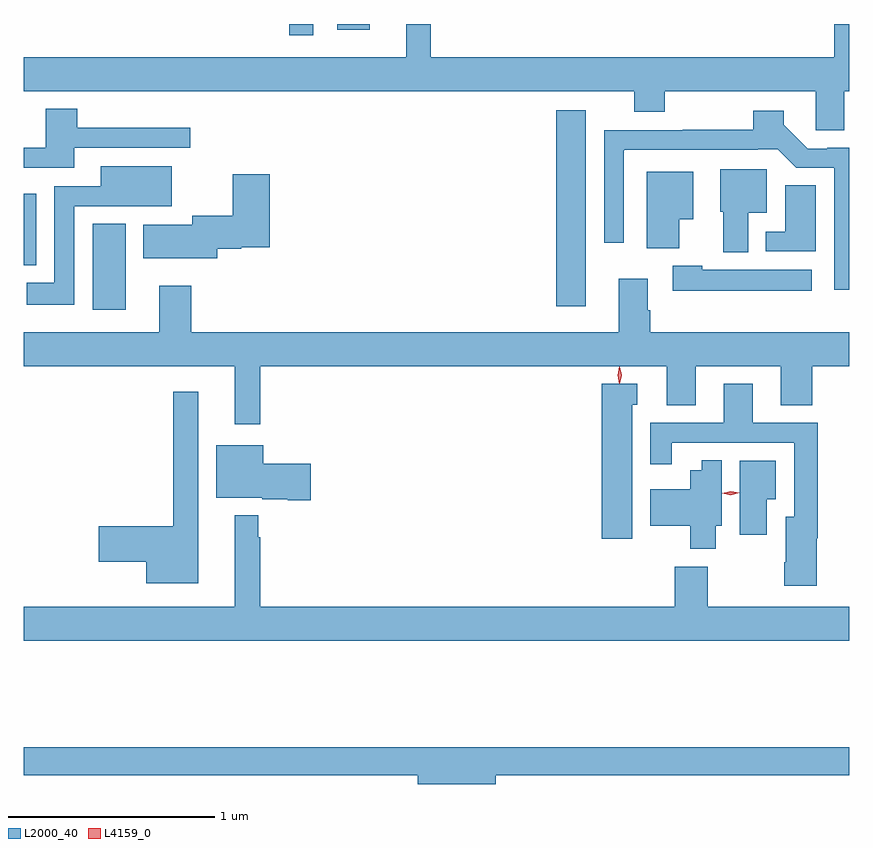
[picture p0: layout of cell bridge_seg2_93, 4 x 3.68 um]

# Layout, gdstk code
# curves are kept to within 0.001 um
import gdstk
lib = gdstk.Library(unit=1e-6, precision=1e-09)
def R(c, l, rs):  # rectangles x0, y0, x1, y1
    for r in rs: c.add(gdstk.rectangle(r[:2], r[2:], *l))
def P(c, l, *ps):  # polygons
    for p in ps: c.add(gdstk.Polygon(p, *l))
L2000_40 = (2000, 40)
L4159_0 = (4159, 0)

bridge_seg2_93 = lib.new_cell('bridge_seg2_93')
R(bridge_seg2_93, L2000_40, [(352.469,649.242,352.63,649.657), (354.716,649.257,354.859,650.209), (352.136,649.457,352.195,649.804), (353.422,650.571,353.538,650.626), (353.654,650.597,353.812,650.626)])
P(bridge_seg2_93, L2000_40, [(356.113,650.3),(356.136,650.3),(356.136,650.626),(356.063,650.626),(356.063,650.464),(354.107,650.464),(354.107,650.626),(353.99,650.626),(353.99,650.464),(352.136,650.464),(352.136,650.3),(355.094,650.3),(355.094,650.201),(355.242,650.201),(355.242,650.3),(355.974,650.3),(355.974,650.11),(356.113,650.11)],
  [(352.381,650.025),(352.942,650.025),(352.942,650.122),(352.394,650.122),(352.394,650.215),(352.241,650.215),(352.241,650.025),(352.136,650.025),(352.136,649.929),(352.381,649.929)],
  [(356.136,650.025),(356.029,650.025),(356.029,650.022),(355.935,650.022),(355.819,650.138),(355.819,650.206),(355.672,650.206),(355.672,650.114),(355.33,650.114),(355.33,650.112),(354.948,650.112),(354.948,649.566),(355.044,649.566),(355.045,650.016),(355.694,650.016),(355.694,650.019),(355.79,650.019),(355.88,649.929),(356.064,649.929),(356.064,649.337),(356.136,649.337)],
  [(352.38,649.743),(352.626,649.743),(352.626,649.742),(352.852,649.742),(352.852,649.936),(352.508,649.936),(352.508,649.839),(352.284,649.839),(352.284,649.372),(352.149,649.372),(352.149,649.265),(352.38,649.265)],
  [(355.648,649.712),(355.738,649.712),(355.738,649.921),(355.511,649.921),(355.511,649.716),(355.526,649.716),(355.526,649.52),(355.648,649.52)],
  [(355.312,649.679),(355.381,649.679),(355.381,649.909),(355.154,649.909),(355.154,649.538),(355.312,649.538)],
  [(353.074,649.537),(353.19,649.537),(353.19,649.544),(353.327,649.544),(353.327,649.897),(353.149,649.897),(353.149,649.697),(352.952,649.697),(352.952,649.654),(352.715,649.654),(352.715,649.49),(353.074,649.49)],
  [(355.975,649.844),(355.826,649.844),(355.826,649.62),(355.733,649.62),(355.733,649.524),(355.975,649.524)],
  [(355.954,649.435),(355.425,649.435),(355.425,649.453),(355.281,649.453),(355.281,649.334),(355.954,649.334)],
  [(353.281,648.968),(355.253,648.968),(355.253,648.778),(355.393,648.778),(355.393,648.968),(355.805,648.968),(355.805,648.778),(355.958,648.778),(355.958,648.968),(356.136,648.968),(356.136,649.132),(355.172,649.132),(355.172,649.238),(355.159,649.238),(355.159,649.39),(355.019,649.39),(355.019,649.132),(352.946,649.132),(352.946,649.357),(352.793,649.357),(352.793,649.132),(352.136,649.132),(352.136,648.968),(353.159,648.968),(353.159,648.687),(353.281,648.687)],
  [(355.084,648.78),(355.108,648.78),(355.108,648.883),(354.938,648.883),(354.938,648.132),(355.084,648.132)],
  [(355.979,648.134),(355.985,648.134),(355.985,648.693),(355.669,648.693),(355.669,648.883),(355.529,648.883),(355.529,648.693),(355.172,648.693),(355.172,648.492),(355.276,648.492),(355.276,648.597),(355.869,648.597),(355.869,648.238),(355.829,648.238),(355.829,648.016),(355.822,648.016),(355.822,647.904),(355.979,647.904)],
  [(352.981,648.844),(352.86,648.844),(352.86,648.191),(352.5,648.191),(352.5,648.02),(352.73,648.02),(352.73,647.915),(352.981,647.915)],
  [(353.527,648.495),(353.296,648.495),(353.296,648.583),(353.069,648.583),(353.069,648.329),(353.292,648.329),(353.292,648.323),(353.414,648.323),(353.414,648.317),(353.527,648.317)],
  [(355.489,648.194),(355.518,648.194),(355.518,648.512),(355.421,648.512),(355.421,648.463),(355.367,648.463),(355.367,648.37),(355.172,648.37),(355.172,648.194),(355.367,648.194),(355.367,648.083),(355.489,648.083)],
  [(355.738,648.323),(355.78,648.323),(355.78,648.508),(355.607,648.508),(355.607,648.15),(355.738,648.15)],
  [(356.136,647.8),(355.452,647.8),(355.452,647.995),(355.292,647.995),(355.292,647.8),(353.281,647.8),(353.281,648.137),(353.273,648.137),(353.273,648.244),(353.159,648.244),(353.159,647.8),(352.136,647.8),(352.136,647.636),(356.136,647.636)],
  [(354.424,646.984),(356.136,646.984),(356.136,647.12),(352.136,647.12),(352.136,646.984),(354.044,646.984),(354.044,646.942),(354.424,646.942)])
P(bridge_seg2_93, L4159_0, [(355.563,648.342),(355.522,648.352),(355.522,648.352),(355.522,648.352),(355.563,648.362),(355.603,648.353),(355.603,648.353),(355.603,648.353)],
  [(355.024,648.882),(355.023,648.883),(355.014,648.924),(355.023,648.965),(355.024,648.965),(355.024,648.965),(355.033,648.924),(355.024,648.883)])

lib.write_gds('bridge_seg2_93.gds')
